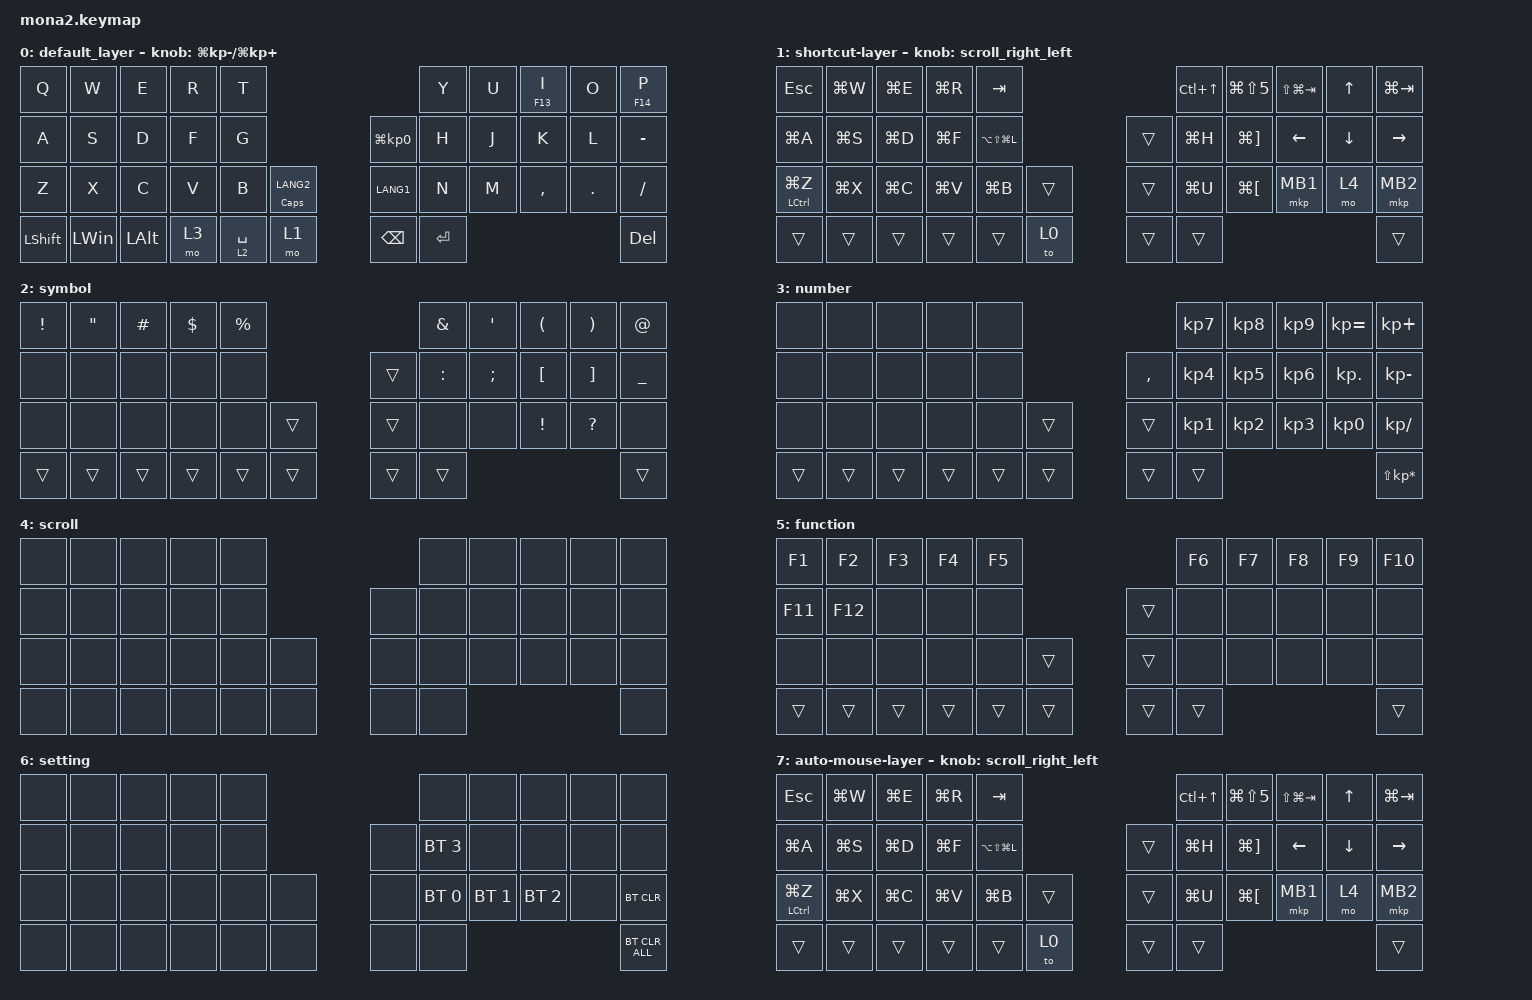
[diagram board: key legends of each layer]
#include <input/processors.dtsi>
#include <dt-bindings/zmk/input_transform.h>
#include <zephyr/dt-bindings/input/input-event-codes.h>
#include <input/processors.dtsi>
#include <behaviors.dtsi>
#include <dt-bindings/zmk/bt.h>
#include <dt-bindings/zmk/keys.h>
#include <dt-bindings/zmk/pointing.h>

&mkp_input_listener { input-processors = <&zip_temp_layer 7 10000>; };

#define ZMK_POINTING_DEFAULT_SCRL_VAL 100
#define MOUSE 7
#define SCROLL 4

&mt {
    flavor = "balanced";
    quick-tap-ms = <0>;
};

&lt {
    quick-tap-ms = <300>;
    flavor = "balanced";
};

/ {
    combos {
        compatible = "zmk,combos";

        layer4_ESC {
            bindings = <&lt 4 ESC>;
            key-positions = <0 9 41 33>;
        };

        username {
            bindings = <&username>;
            key-positions = <39 38>;
        };

        username2 {
            bindings = <&username2>;
            key-positions = <38 40>;
        };
    };

    macros {
        to_layer_0: to_layer_0 {
            compatible = "zmk,behavior-macro-one-param";
            #binding-cells = <1>;
            bindings = <&to 0 &macro_param_1to1 &kp MACRO_PLACEHOLDER>;
            label = "TO_LAYER_0";
        };

        username: username {
            compatible = "zmk,behavior-macro";
            #binding-cells = <0>;
            bindings = <&kp LANG2 &kp A &kp Z &kp U &kp R &kp E &kp KP_NUMBER_6 &kp KP_NUMBER_1 &kp KP_NUMBER_4 &kp LANG1>;
            label = "USERNAME";
        };

        username2: username2 {
            compatible = "zmk,behavior-macro";
            #binding-cells = <0>;
            bindings = <&kp LANG2 &kp LS(A) &kp Z &kp U &kp R &kp E &kp KP_NUMBER_6 &kp KP_NUMBER_9 &kp M &kp H &kp KP_NUMBER_5 &kp KP_NUMBER_2 &kp Z &kp LANG1>;
            label = "USERNAME2";
        };
    };

    behaviors {
        lt_to_layer_0: lt_to_layer_0 {
            compatible = "zmk,behavior-hold-tap";
            label = "LAYER_TAP_TO_0";
            bindings = <&mo>, <&to_layer_0>;

            #binding-cells = <2>;
            tapping-term-ms = <200>;
        };

        scroll_up_down: mouse_wheel_up_down {
            compatible = "zmk,behavior-sensor-rotate";
            #sensor-binding-cells = <0>;
            bindings = <&msc SCRL_DOWN>, <&msc SCRL_UP>;

            tap-ms = <20>;
        };

        scroll_right_left: mouse_wheel_right_left {
            compatible = "zmk,behavior-sensor-rotate";
            #sensor-binding-cells = <0>;
            bindings = <&msc SCRL_LEFT>, <&msc SCRL_RIGHT>;

            tap-ms = <20>;
        };
    };

    keymap {
        compatible = "zmk,keymap";

        default_layer {
            bindings = <
&kp Q           &kp W         &kp E         &kp R  &kp T                                                   &kp Y      &kp U  &mt F13 I  &kp O    &mt F14 P
&kp A           &kp S         &kp D         &kp F  &kp G                              &kp LG(KP_NUMBER_0)  &kp H      &kp J  &kp K      &kp L    &kp MINUS
&kp Z           &kp X         &kp C         &kp V  &kp B        &mt CAPSLOCK LANG2    &kp LANG1            &kp N      &kp M  &kp COMMA  &kp DOT  &kp SLASH
&kp LEFT_SHIFT  &kp LEFT_WIN  &kp LEFT_ALT  &mo 3  &lt 2 SPACE  &mo 1                 &kp BACKSPACE        &kp ENTER                             &kp DEL
            >;

            sensor-bindings = <&inc_dec_kp LG(KP_MINUS) LG(KP_PLUS)>;
        };

        shortcut-layer {
            bindings = <
&kp ESC          &kp LG(W)  &kp LG(E)  &kp LG(R)  &kp TAB                              &kp LC(UP_ARROW)  &kp LG(LS(NUMBER_5))   &kp LS(LG(TAB))  &kp UP_ARROW    &kp LG(TAB)
&kp LG(A)        &kp LG(S)  &kp LG(D)  &kp LG(F)  &kp LA(LS(LG(L)))            &trans  &kp LG(H)         &kp LG(RIGHT_BRACKET)  &kp LEFT         &kp DOWN_ARROW  &kp RIGHT_ARROW
&mt LCTRL LG(Z)  &kp LG(X)  &kp LG(C)  &kp LG(V)  &kp LG(B)          &trans    &trans  &kp LG(U)         &kp LG(LEFT_BRACKET)   &mkp MB1         &mo 4           &mkp MB2
&trans           &trans     &trans     &trans     &trans             &to 0     &trans  &trans                                                                    &trans
            >;

            sensor-bindings = <&scroll_right_left>;
        };

        symbol {
            bindings = <
&kp EXCLAMATION  &kp DOUBLE_QUOTES  &kp POUND  &kp DOLLAR  &kp PERCENT                    &kp AMPERSAND  &kp SQT        &kp LEFT_PARENTHESIS  &kp RIGHT_PARENTHESIS  &kp AT_SIGN
&none            &none              &none      &none       &none                  &trans  &kp COLON      &kp SEMICOLON  &kp LEFT_BRACKET      &kp RIGHT_BRACKET      &kp UNDERSCORE
&none            &none              &none      &none       &none        &trans    &trans  &none          &none          &kp EXCLAMATION       &kp QUESTION           &none
&trans           &trans             &trans     &trans      &trans       &trans    &trans  &trans                                                                     &trans
            >;
        };

        number {
            bindings = <
&none   &none   &none   &none   &none                        &kp KP_NUMBER_7  &kp KP_NUMBER_8  &kp KP_NUMBER_9  &kp KP_EQUAL     &kp KP_PLUS
&none   &none   &none   &none   &none             &kp COMMA  &kp KP_NUMBER_4  &kp KP_NUMBER_5  &kp KP_NUMBER_6  &kp KP_DOT       &kp KP_MINUS
&none   &none   &none   &none   &none   &trans    &trans     &kp KP_NUMBER_1  &kp KP_NUMBER_2  &kp KP_NUMBER_3  &kp KP_NUMBER_0  &kp KP_SLASH
&trans  &trans  &trans  &trans  &trans  &trans    &trans     &trans                                                              &kp LS(KP_MULTIPLY)
            >;
        };

        scroll {
            bindings = <
&none  &none  &none  &none  &none                  &none  &none  &none  &none  &none
&none  &none  &none  &none  &none           &none  &none  &none  &none  &none  &none
&none  &none  &none  &none  &none  &none    &none  &none  &none  &none  &none  &none
&none  &none  &none  &none  &none  &none    &none  &none                       &none
            >;
        };

        function {
            bindings = <
&kp F1   &kp F2   &kp F3  &kp F4  &kp F5                    &kp F6  &kp F7  &kp F8  &kp F9  &kp F10
&kp F11  &kp F12  &none   &none   &none             &trans  &none   &none   &none   &none   &none
&none    &none    &none   &none   &none   &trans    &trans  &none   &none   &none   &none   &none
&trans   &trans   &trans  &trans  &trans  &trans    &trans  &trans                          &trans
            >;
        };

        setting {
            bindings = <
&none  &none  &none  &none  &none                  &none         &none         &none         &none  &none
&none  &none  &none  &none  &none           &none  &bt BT_SEL 3  &none         &none         &none  &none
&none  &none  &none  &none  &none  &none    &none  &bt BT_SEL 0  &bt BT_SEL 1  &bt BT_SEL 2  &none  &bt BT_CLR
&none  &none  &none  &none  &none  &none    &none  &none                                            &bt BT_CLR_ALL
            >;
        };

        auto-mouse-layer {
            bindings = <
&kp ESC          &kp LG(W)  &kp LG(E)  &kp LG(R)  &kp TAB                              &kp LC(UP_ARROW)  &kp LG(LS(NUMBER_5))   &kp LS(LG(TAB))  &kp UP_ARROW    &kp LG(TAB)
&kp LG(A)        &kp LG(S)  &kp LG(D)  &kp LG(F)  &kp LA(LS(LG(L)))            &trans  &kp LG(H)         &kp LG(RIGHT_BRACKET)  &kp LEFT         &kp DOWN_ARROW  &kp RIGHT_ARROW
&mt LCTRL LG(Z)  &kp LG(X)  &kp LG(C)  &kp LG(V)  &kp LG(B)          &trans    &trans  &kp LG(U)         &kp LG(LEFT_BRACKET)   &mkp MB1         &mo 4           &mkp MB2
&trans           &trans     &trans     &trans     &trans             &to 0     &trans  &trans                                                                    &trans
            >;

            sensor-bindings = <&scroll_right_left>;
        };
    };
};
